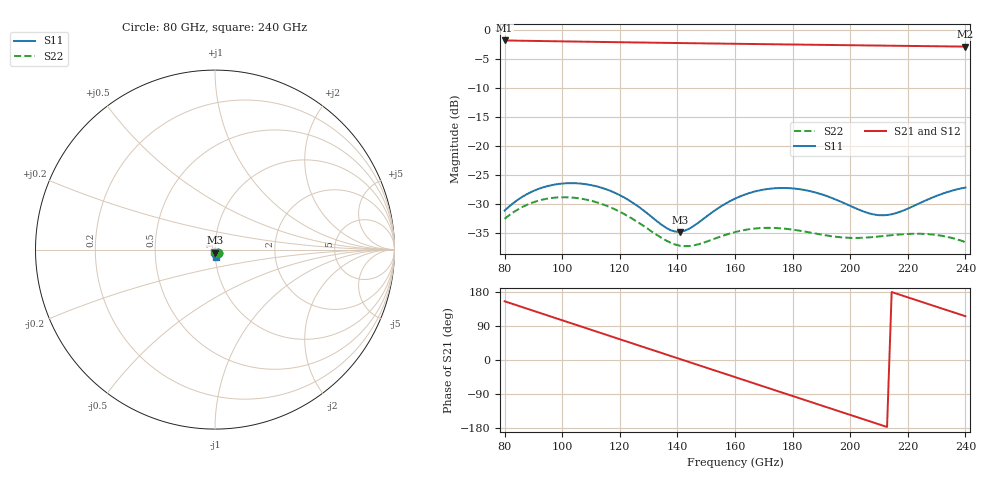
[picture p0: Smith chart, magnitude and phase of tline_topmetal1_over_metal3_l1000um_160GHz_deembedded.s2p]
! Created with skrf 2.0.1 (http://scikit-rf.org).
# GHz S DB R 50.0
!freq dBS11 angS11 dBS21 angS21 dBS12 angS12 dBS22 angS22
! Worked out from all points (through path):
!   101 points, 80 GHz to 240 GHz, reference 50 ohm
!   highest |S21| = -1.78 dB at 80 GHz (marker M1); lowest = -2.8 dB at 240 GHz (marker M2)
!   group delay of S21, straight-line fit = 6.93 ps
!   lowest |S11| = -34.9 dB at 140.8 GHz (marker M3), VSWR 1.04, Z = 50.1 - j1.8 ohm
!   |S11| at or under -10 dB: start of sweep to end of sweep
!   |S22| runs from -37.4 to -28.9 dB; largest |S21 - S12| = 9e-14
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80  -31.20 -49.9  -1.78 155.0  -1.78 155.0  -32.61 -50.6
86.4  -28.74 -53.6  -1.83 138.9  -1.83 138.9  -30.52 -54.4
94.4  -27.03 -65.2  -1.89 118.9  -1.89 118.9  -29.17 -65.9
100.8  -26.49 -76.3  -1.94 102.8  -1.94 102.8  -28.89 -76.7
107.2  -26.57 -87.5  -1.99 86.8  -1.99 86.8  -29.19 -87.7
113.6  -27.24 -98.1  -2.04 70.8  -2.04 70.8  -30.03 -97.9
120  -28.53 -106.8  -2.08 54.8  -2.08 54.8  -31.40 -106.3
128  -31.08 -111.9  -2.14 34.8  -2.14 34.8  -33.78 -111.6
134.4  -33.61 -105.7  -2.18 18.8  -2.18 18.8  -35.90 -108.4
140.8  -34.88 -86.0  -2.23 2.8  -2.23 2.8  -37.26 -97.3
150.4  -32.12 -64.6  -2.29 -21.1  -2.29 -21.1  -36.52 -81.8
160  -29.14 -67.3  -2.35 -45.1  -2.35 -45.1  -34.92 -81.3
168  -27.76 -76.3  -2.40 -65.1  -2.40 -65.1  -34.25 -86.9
174.4  -27.32 -84.7  -2.44 -81.0  -2.44 -81.0  -34.22 -92.2
180.8  -27.40 -93.0  -2.48 -97.0  -2.48 -97.0  -34.55 -96.7
187.2  -27.97 -100.2  -2.52 -112.9  -2.52 -112.9  -35.10 -99.3
193.6  -29.01 -104.9  -2.56 -128.9  -2.56 -128.9  -35.64 -99.7
201.6  -30.74 -104.4  -2.61 -148.8  -2.61 -148.8  -35.93 -98.0
208  -31.85 -96.7  -2.65 -164.8  -2.65 -164.8  -35.77 -97.1
214.4  -31.84 -85.2  -2.69 179.3  -2.69 179.3  -35.45 -98.4
225.6  -29.58 -75.3  -2.75 151.4  -2.75 151.4  -35.23 -105.6
240  -27.22 -83.3  -2.84 115.6  -2.84 115.6  -36.66 -116.9
